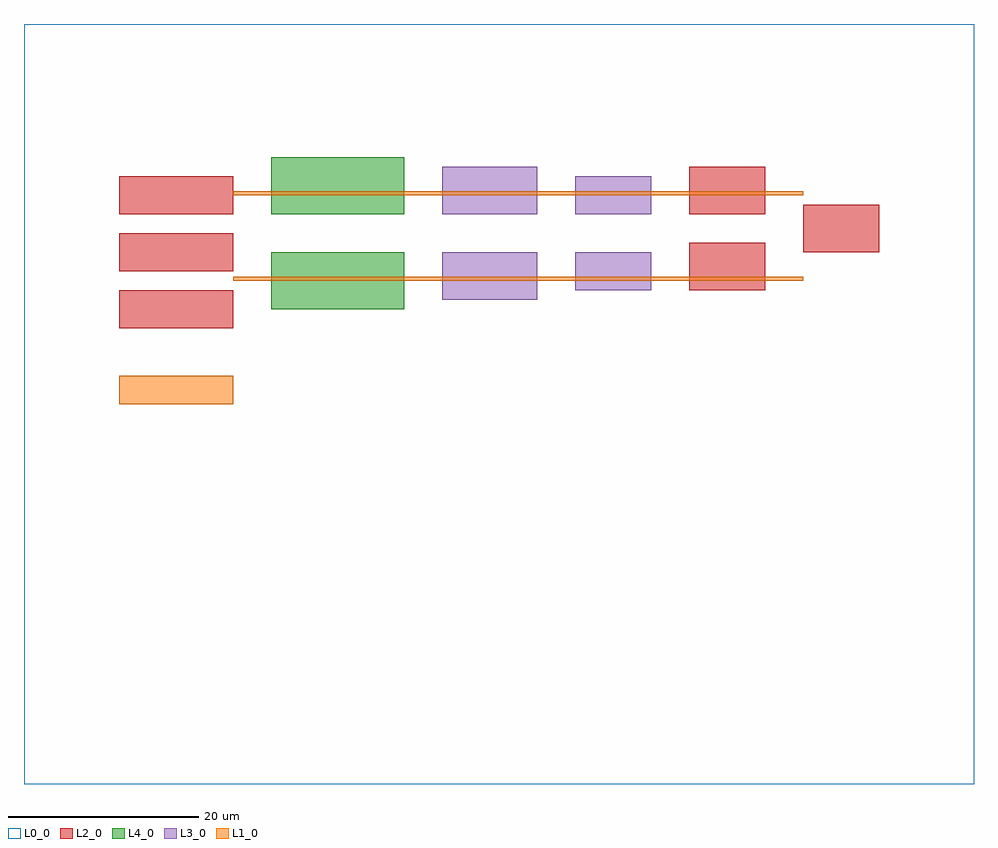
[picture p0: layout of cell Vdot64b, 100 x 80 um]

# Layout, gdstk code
import gdstk
lib = gdstk.Library(unit=1e-6, precision=5e-09)
def R(c, l, rs):  # rectangles x0, y0, x1, y1
    for r in rs: c.add(gdstk.rectangle(r[:2], r[2:], *l))
def A(c, l, x, y, w, h, nx, ny, dx, dy):  # array of equal rectangles
    R(c, l, [(x+i*dx, y+j*dy, x+i*dx+w, y+j*dy+h) for i in range(nx) for j in range(ny)])
L0_0 = (0, 0)
L1_0 = (1, 0)
L2_0 = (2, 0)
L3_0 = (3, 0)
L4_0 = (4, 0)

vs1reg = lib.new_cell('vs1Reg')
R(vs1reg, L2_0, [(10,60,22,64)])

vs2reg = lib.new_cell('vs2Reg')
R(vs2reg, L2_0, [(10,54,22,58)])

oldvdreg = lib.new_cell('oldVdReg')
R(oldvdreg, L2_0, [(10,48,22,52)])

mul0_3 = lib.new_cell('MUL0_3')
R(mul0_3, L4_0, [(26,60,40,66)])

mul4_7 = lib.new_cell('MUL4_7')
R(mul4_7, L4_0, [(26,50,40,56)])

partsum01 = lib.new_cell('partSum01')
R(partsum01, L3_0, [(44,60,54,65)])

partsum23 = lib.new_cell('partSum23')
R(partsum23, L3_0, [(44,51,54,56)])

lanesum0 = lib.new_cell('laneSum0')
R(lanesum0, L3_0, [(58,60,66,64)])

lanesum1 = lib.new_cell('laneSum1')
R(lanesum1, L3_0, [(58,52,66,56)])

acc0 = lib.new_cell('acc0')
R(acc0, L2_0, [(70,60,78,65)])

acc1 = lib.new_cell('acc1')
R(acc1, L2_0, [(70,52,78,57)])

vdreg = lib.new_cell('vdReg')
R(vdreg, L2_0, [(82,56,90,61)])

ctrl = lib.new_cell('ctrl')
R(ctrl, L1_0, [(10,40,22,43)])

vdot64b = lib.new_cell('Vdot64b')
R(vdot64b, L0_0, [(0,0,100,80)])
R(vdot64b, L1_0, [(10,40,22,43), (22,53,82,53.4), (22,62,82,62.4)])
A(vdot64b, L2_0, 10, 48, 12, 4, 1, 3, 0, 6)
R(vdot64b, L2_0, [(70,52,78,57), (82,56,90,61), (70,60,78,65)])
R(vdot64b, L3_0, [(44,51,54,56), (58,52,66,56), (44,60,54,65), (58,60,66,64)])
R(vdot64b, L4_0, [(26,50,40,56), (26,60,40,66)])
vdot64b.add(gdstk.Reference(vs1reg, (0,0)))
vdot64b.add(gdstk.Reference(vs2reg, (0,0)))
vdot64b.add(gdstk.Reference(oldvdreg, (0,0)))
vdot64b.add(gdstk.Reference(mul0_3, (0,0)))
vdot64b.add(gdstk.Reference(mul4_7, (0,0)))
vdot64b.add(gdstk.Reference(partsum01, (0,0)))
vdot64b.add(gdstk.Reference(partsum23, (0,0)))
vdot64b.add(gdstk.Reference(lanesum0, (0,0)))
vdot64b.add(gdstk.Reference(lanesum1, (0,0)))
vdot64b.add(gdstk.Reference(acc0, (0,0)))
vdot64b.add(gdstk.Reference(acc1, (0,0)))
vdot64b.add(gdstk.Reference(vdreg, (0,0)))
vdot64b.add(gdstk.Reference(ctrl, (0,0)))

lib.write_gds('Vdot64b.gds')
